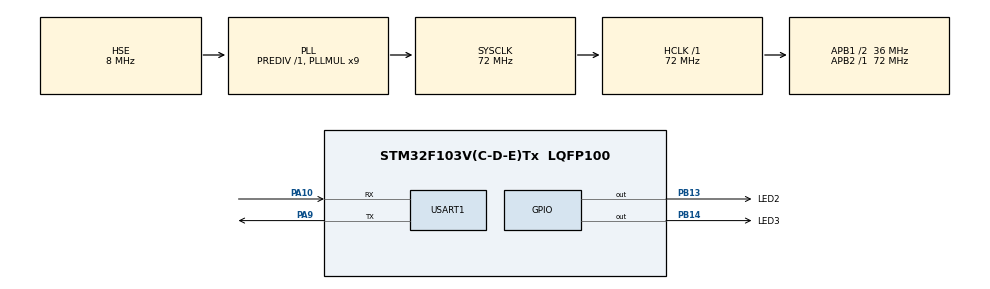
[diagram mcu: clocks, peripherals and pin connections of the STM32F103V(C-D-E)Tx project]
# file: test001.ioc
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FREERTOS.Queues01=myQueue01,16,uint16_t,0,Dynamic,NULL,NULL
FREERTOS.Tasks01=defaultTask,0,128,StartDefaultTask,Default,NULL,Dynamic,NULL,NULL;myTask02,-3,128,StartTask02,Default,NULL,Dynamic,NULL,NULL
FREERTOS.configTOTAL_HEAP_SIZE=10240
Mcu.Family=STM32F1
Mcu.Name=STM32F103V(C-D-E)Tx
Mcu.Package=LQFP100
NVIC.PriorityGroup=NVIC_PRIORITYGROUP_4
NVIC.RCC_IRQn=true\:5\:0\:false\:false\:true\:true\:true\:false
NVIC.USART1_IRQn=true\:5\:0\:false\:false\:true\:true\:true\:true
OSC_IN.Mode=HSE-External-Oscillator
OSC_IN.Signal=RCC_OSC_IN
OSC_OUT.Mode=HSE-External-Oscillator
OSC_OUT.Signal=RCC_OSC_OUT
PA10.Mode=Asynchronous
PA10.Signal=USART1_RX
PA13.Mode=Serial_Wire
PA13.Signal=SYS_JTMS-SWDIO
PA14.Mode=Serial_Wire
PA14.Signal=SYS_JTCK-SWCLK
PA9.Mode=Asynchronous
PA9.Signal=USART1_TX
PB13.GPIO_Label=LED2
PB13.Signal=GPIO_Output
PB14.GPIO_Label=LED3
PB14.Signal=GPIO_Output
ProjectManager.HeapSize=0x200
ProjectManager.StackSize=0x400
ProjectManager.TargetToolchain=STM32CubeIDE
RCC.AHBFreq_Value=72000000
RCC.APB1CLKDivider=RCC_HCLK_DIV2
RCC.APB1Freq_Value=36000000
RCC.APB1TimFreq_Value=72000000
RCC.APB2Freq_Value=72000000
RCC.APB2TimFreq_Value=72000000
RCC.HCLKFreq_Value=72000000
RCC.PLLMUL=RCC_PLL_MUL9
RCC.PLLSourceVirtual=RCC_PLLSOURCE_HSE
RCC.SYSCLKFreq_VALUE=72000000
RCC.SYSCLKSource=RCC_SYSCLKSOURCE_PLLCLK
RCC.USBFreq_Value=72000000
USART1.VirtualMode=VM_ASYNC
VP_FREERTOS_VS_CMSIS_V1.Mode=CMSIS_V1
board=custom

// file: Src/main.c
/* USER CODE BEGIN Header */
/**
  ******************************************************************************
  * @file           : main.c
  * @brief          : Main program body
  ******************************************************************************
  * @attention
  *
  * <h2><center>&copy; Copyright (c) 2019 STMicroelectronics.
  * All rights reserved.</center></h2>
  *
  * This software component is licensed by ST under BSD 3-Clause license,
  * the "License"; You may not use this file except in compliance with the
  * License. You may obtain a copy of the License at:
  *                        opensource.org/licenses/BSD-3-Clause
  *
  ******************************************************************************
  */
/* USER CODE END Header */

#include "main.h"
#include "cmsis_os.h"

/* USER CODE BEGIN Includes */
#include "led.h"
#include "stdio.h"
#include <stdlib.h>
#include <string.h>
/* USER CODE END Includes */

UART_HandleTypeDef huart1;

osThreadId defaultTaskHandle;
osThreadId myTask02Handle;
osMessageQId myQueue01Handle;

void SystemClock_Config(void);
static void MX_GPIO_Init(void);
static void MX_USART1_UART_Init(void);
void StartDefaultTask(void const * argument);
void StartTask02(void const * argument);

/* USER CODE BEGIN 0 */

uint8_t bRx1_complete = 0;
uint8_t bRx2_complete = 0;
uint8_t bRx3_complete = 0;

 uint8_t Uart1_Rx_Cnt = 0;
uint8_t Uart2_Rx_Cnt = 0;
uint8_t Uart3_Rx_Cnt = 0;

char Uart1_RxBuff[256];
uint8_t Uart1_TxBuff[256];
uint8_t Uart2_RxBuff[256];
uint8_t Uart2_TxBuff[256];
uint8_t Uart3_RxBuff[256];
uint8_t Uart3_TxBuff[256];

uint8_t aRx1Buffer;
uint8_t aRx2Buffer;
uint8_t aRx3Buffer;

#ifdef __GNUC__

#define PUTCHAR_PROTOTYPE int __io_putchar(int ch)

PUTCHAR_PROTOTYPE
{
 HAL_UART_Transmit(&huart1, (uint8_t*)&ch, 1, HAL_MAX_DELAY);
 return ch;
}
#endif

void SavePara(char *str,char *save_str)
{
	while(*str != '\0')
	{
		*save_str++ = *str++;
	}
}

/* USER CODE END 0 */

int main(void)
{

  /* MCU Configuration--------------------------------------------------------*/

  /* Reset of all peripherals, Initializes the Flash interface and the Systick. */
  HAL_Init();

  /* Configure the system clock */
  SystemClock_Config();

  /* Initialize all configured peripherals */
  MX_GPIO_Init();
  MX_USART1_UART_Init();
  /* USER CODE BEGIN 2 */
  LED2(OFF);
  HAL_UART_Receive_IT(&huart1, (uint8_t *)&aRx1Buffer, 1);//使能串口接收中断
  printf("************FreeRTOS********************\r\n");

  /* USER CODE END 2 */

  /* Create the queue(s) */
  /* definition and creation of myQueue01 */
  osMessageQDef(myQueue01, 16, uint16_t);
  myQueue01Handle = osMessageCreate(osMessageQ(myQueue01), NULL);

  /* Create the thread(s) */
  /* definition and creation of defaultTask */
  osThreadDef(defaultTask, StartDefaultTask, osPriorityNormal, 0, 128);
  defaultTaskHandle = osThreadCreate(osThread(defaultTask), NULL);

  /* definition and creation of myTask02 */
  osThreadDef(myTask02, StartTask02, osPriorityIdle, 0, 128);
  myTask02Handle = osThreadCreate(osThread(myTask02), NULL);

  /* Start scheduler */
  osKernelStart();

  /* We should never get here as control is now taken by the scheduler */

  /* Infinite loop */
  while (1)
  {

  }
}

void SystemClock_Config(void)
{
  RCC_OscInitTypeDef RCC_OscInitStruct = {0};
  RCC_ClkInitTypeDef RCC_ClkInitStruct = {0};

  /** Initializes the CPU, AHB and APB busses clocks
  */
  RCC_OscInitStruct.OscillatorType = RCC_OSCILLATORTYPE_HSE;
  RCC_OscInitStruct.HSEState = RCC_HSE_ON;
  RCC_OscInitStruct.HSEPredivValue = RCC_HSE_PREDIV_DIV1;
  RCC_OscInitStruct.HSIState = RCC_HSI_ON;
  RCC_OscInitStruct.PLL.PLLState = RCC_PLL_ON;
  RCC_OscInitStruct.PLL.PLLSource = RCC_PLLSOURCE_HSE;
  RCC_OscInitStruct.PLL.PLLMUL = RCC_PLL_MUL9;
  if (HAL_RCC_OscConfig(&RCC_OscInitStruct) != HAL_OK)
  {
    Error_Handler();
  }
  /** Initializes the CPU, AHB and APB busses clocks
  */
  RCC_ClkInitStruct.ClockType = RCC_CLOCKTYPE_HCLK|RCC_CLOCKTYPE_SYSCLK
                              |RCC_CLOCKTYPE_PCLK1|RCC_CLOCKTYPE_PCLK2;
  RCC_ClkInitStruct.SYSCLKSource = RCC_SYSCLKSOURCE_PLLCLK;
  RCC_ClkInitStruct.AHBCLKDivider = RCC_SYSCLK_DIV1;
  RCC_ClkInitStruct.APB1CLKDivider = RCC_HCLK_DIV2;
  RCC_ClkInitStruct.APB2CLKDivider = RCC_HCLK_DIV1;

  if (HAL_RCC_ClockConfig(&RCC_ClkInitStruct, FLASH_LATENCY_2) != HAL_OK)
  {
    Error_Handler();
  }
}

static void MX_USART1_UART_Init(void)
{

  huart1.Instance = USART1;
  huart1.Init.BaudRate = 115200;
  huart1.Init.WordLength = UART_WORDLENGTH_8B;
  huart1.Init.StopBits = UART_STOPBITS_1;
  huart1.Init.Parity = UART_PARITY_NONE;
  huart1.Init.Mode = UART_MODE_TX_RX;
  huart1.Init.HwFlowCtl = UART_HWCONTROL_NONE;
  huart1.Init.OverSampling = UART_OVERSAMPLING_16;
  if (HAL_UART_Init(&huart1) != HAL_OK)
  {
    Error_Handler();
  }

}

static void MX_GPIO_Init(void)
{
  GPIO_InitTypeDef GPIO_InitStruct = {0};

  /* GPIO Ports Clock Enable */
  __HAL_RCC_GPIOB_CLK_ENABLE();
  __HAL_RCC_GPIOA_CLK_ENABLE();

  /*Configure GPIO pin Output Level */
  HAL_GPIO_WritePin(GPIOB, LED2_Pin|LED3_Pin, GPIO_PIN_RESET);

  /*Configure GPIO pins : LED2_Pin LED3_Pin */
  GPIO_InitStruct.Pin = LED2_Pin|LED3_Pin;
  GPIO_InitStruct.Mode = GPIO_MODE_OUTPUT_PP;
  GPIO_InitStruct.Pull = GPIO_NOPULL;
  GPIO_InitStruct.Speed = GPIO_SPEED_FREQ_LOW;
  HAL_GPIO_Init(GPIOB, &GPIO_InitStruct);

}

/* USER CODE BEGIN 4 */
/**
  * @brief  Rx Transfer completed callbacks.
  * @param  huart pointer to a UART_HandleTypeDef structure that contains
  *                the configuration information for the specified UART module.
  * @retval None
  */
void HAL_UART_RxCpltCallback(UART_HandleTypeDef *huart)
{
  /* Prevent unused argument(s) compilation warning */
  UNUSED(huart);
  /* NOTE: This function Should not be modified, when the callback is needed,
           the HAL_UART_TxCpltCallback could be implemented in the user file
   */
    if(huart->Instance == huart1.Instance)
    {
	if(bRx1_complete != 0)
	  return;

	if(Uart1_Rx_Cnt >= 255)
	{
	  Uart1_Rx_Cnt = 0;
	  memset(Uart1_RxBuff,0x00,sizeof(Uart1_RxBuff));
	}
	else
	{
	  Uart1_RxBuff[Uart1_Rx_Cnt] = aRx1Buffer;
	  Uart1_Rx_Cnt++;
	  if((Uart1_RxBuff[Uart1_Rx_Cnt-1] == 0x0A)&&(Uart1_RxBuff[Uart1_Rx_Cnt-2] == 0x0D))
	  {
	    Uart1_Rx_Cnt= 0;
	    bRx1_complete = 0;
	  }
	}
    }
    HAL_UART_Receive_IT(&huart1, (uint8_t *)&aRx1Buffer, 1);
}

/* USER CODE END 4 */

void StartDefaultTask(void const * argument)
{

  /* USER CODE BEGIN 5 */

  /* Infinite loop */
  for(;;)
  {
    osDelay(100);
  }
  /* USER CODE END 5 */
}

void StartTask02(void const * argument)
{
  /* USER CODE BEGIN StartTask02 */
  /* Infinite loop */

  for(;;)
  {
	LED3(ON);
	osDelay(250);
	LED3(OFF);
	osDelay(250);
  }
  /* USER CODE END StartTask02 */
}

void Error_Handler(void)
{
}

/************************ (C) COPYRIGHT STMicroelectronics *****END OF FILE****/
